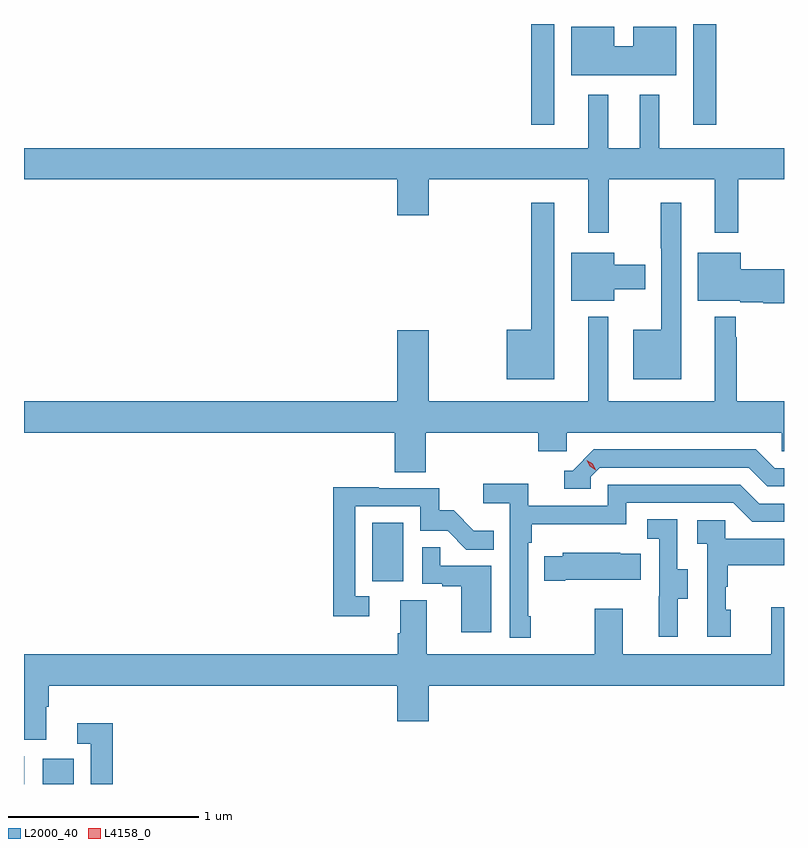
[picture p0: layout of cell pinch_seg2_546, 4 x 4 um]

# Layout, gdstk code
import gdstk
lib = gdstk.Library(unit=1e-6, precision=1e-09)
def R(c, l, rs):  # rectangles x0, y0, x1, y1
    for r in rs: c.add(gdstk.rectangle(r[:2], r[2:], *l))
def P(c, l, *ps):  # polygons
    for p in ps: c.add(gdstk.Polygon(p, *l))
L2000_40 = (2000, 40)
L4158_0 = (4158, 0)

pinch_seg2_546 = lib.new_cell('pinch_seg2_546')
R(pinch_seg2_546, L2000_40, [(1140.065,608.49,1140.066,608.637), (1140.164,608.49,1140.328,608.623), (1141.898,609.558,1142.062,609.865), (1142.736,611.961,1142.857,612.49), (1143.587,611.961,1143.709,612.49)])
P(pinch_seg2_546, L2000_40, [(1143.499,612.475),(1143.272,612.475),(1143.272,612.374),(1143.172,612.374),(1143.172,612.475),(1142.945,612.475),(1142.945,612.221),(1143.499,612.221)],
  [(1143.142,611.672),(1143.701,611.672),(1143.701,611.391),(1143.823,611.391),(1143.823,611.672),(1144.065,611.672),(1144.065,611.836),(1143.409,611.836),(1143.409,612.118),(1143.305,612.118),(1143.305,611.836),(1143.139,611.836),(1143.139,612.118),(1143.035,612.118),(1143.035,611.836),(1140.065,611.836),(1140.065,611.672),(1142.03,611.672),(1142.03,611.484),(1142.194,611.484),(1142.194,611.672),(1143.035,611.672),(1143.035,611.391),(1143.142,611.391)],
  [(1143.523,611.548),(1143.417,611.548),(1143.417,611.311),(1143.419,611.311),(1143.419,610.882),(1143.272,610.882),(1143.272,610.619),(1143.523,610.619)],
  [(1142.857,611.548),(1142.736,611.548),(1142.736,610.882),(1142.606,610.882),(1142.606,610.619),(1142.857,610.619)],
  [(1143.172,611.093),(1143.334,611.093),(1143.334,611.223),(1143.172,611.223),(1143.172,611.287),(1142.945,611.287),(1142.945,611.033),(1143.172,611.033)],
  [(1144.065,611.199),(1143.838,611.199),(1143.838,611.287),(1143.611,611.287),(1143.611,611.033),(1143.834,611.033),(1143.834,611.026),(1143.956,611.026),(1143.956,611.021),(1144.065,611.021)],
  [(1142.18,610.34),(1142.771,610.34),(1142.771,610.242),(1142.922,610.242),(1142.922,610.34),(1144.053,610.34),(1144.053,610.242),(1144.065,610.242),(1144.065,610.504),(1143.815,610.504),(1143.815,610.841),(1143.811,610.841),(1143.811,610.948),(1143.701,610.948),(1143.701,610.504),(1143.139,610.504),(1143.139,610.948),(1143.035,610.948),(1143.035,610.504),(1142.194,610.504),(1142.194,610.879),(1142.03,610.879),(1142.03,610.504),(1140.065,610.504),(1140.065,610.34),(1142.015,610.34),(1142.015,610.132),(1142.18,610.132)],
  [(1143.048,610.107),(1143.096,610.155),(1143.879,610.155),(1143.978,610.056),(1144.065,610.056),(1144.065,610.152),(1144.015,610.152),(1143.916,610.251),(1143.063,610.251),(1142.952,610.14),(1142.909,610.14),(1142.909,610.044),(1143.048,610.044)],
  [(1142.731,609.373),(1142.718,609.373),(1142.718,609.761),(1142.738,609.761),(1142.738,609.857),(1143.234,609.857),(1143.234,609.969),(1143.798,609.969),(1143.897,609.87),(1144.065,609.87),(1144.065,609.966),(1143.934,609.966),(1143.835,610.065),(1143.138,610.065),(1143.138,609.954),(1142.72,609.954),(1142.72,610.07),(1142.481,610.07),(1142.481,609.968),(1142.622,609.968),(1142.622,609.261),(1142.731,609.261)],
  [(1141.882,609.477),(1141.809,609.477),(1141.809,609.951),(1142.151,609.951),(1142.151,609.822),(1142.295,609.822),(1142.393,609.724),(1142.537,609.724),(1142.537,609.823),(1142.433,609.823),(1142.326,609.93),(1142.25,609.93),(1142.25,610.047),(1141.931,610.047),(1141.931,610.052),(1141.693,610.052),(1141.693,609.372),(1141.882,609.372)],
  [(1143.505,609.466),(1143.559,609.466),(1143.559,609.621),(1143.504,609.621),(1143.504,609.884),(1143.345,609.884),(1143.345,609.781),(1143.408,609.781),(1143.408,609.477),(1143.407,609.477),(1143.407,609.264),(1143.505,609.264)],
  [(1143.784,609.408),(1143.759,609.408),(1143.759,609.527),(1143.769,609.527),(1143.769,609.641),(1144.065,609.641),(1144.065,609.781),(1143.756,609.781),(1143.756,609.879),(1143.609,609.879),(1143.609,609.755),(1143.66,609.755),(1143.66,609.264),(1143.784,609.264)],
  [(1142.524,609.639),(1142.255,609.639),(1142.255,609.737),(1142.16,609.737),(1142.16,609.543),(1142.267,609.543),(1142.267,609.531),(1142.366,609.531),(1142.366,609.288),(1142.524,609.288)],
  [(1142.914,609.566),(1143.311,609.566),(1143.311,609.703),(1143.203,609.703),(1143.203,609.706),(1142.901,609.706),(1142.901,609.688),(1142.803,609.688),(1142.803,609.559),(1142.914,609.559)],
  [(1140.181,608.896),(1140.194,608.896),(1140.194,609.008),(1142.03,609.008),(1142.03,608.82),(1142.194,608.82),(1142.194,609.008),(1144.065,609.008),(1144.065,609.421),(1143.998,609.421),(1143.998,609.172),(1143.217,609.172),(1143.217,609.412),(1143.07,609.412),(1143.07,609.172),(1142.185,609.172),(1142.185,609.458),(1142.045,609.458),(1142.045,609.284),(1142.033,609.284),(1142.033,609.172),(1140.065,609.172),(1140.065,608.722),(1140.181,608.722)],
  [(1140.533,608.809),(1140.345,608.809),(1140.345,608.703),(1140.417,608.703),(1140.417,608.49),(1140.533,608.49)])
P(pinch_seg2_546, L4158_0, [(1143.073,610.142),(1143.043,610.162),(1143.027,610.195),(1143.027,610.195),(1143.027,610.195),(1143.058,610.175),(1143.074,610.142),(1143.074,610.142)])

lib.write_gds('pinch_seg2_546.gds')
